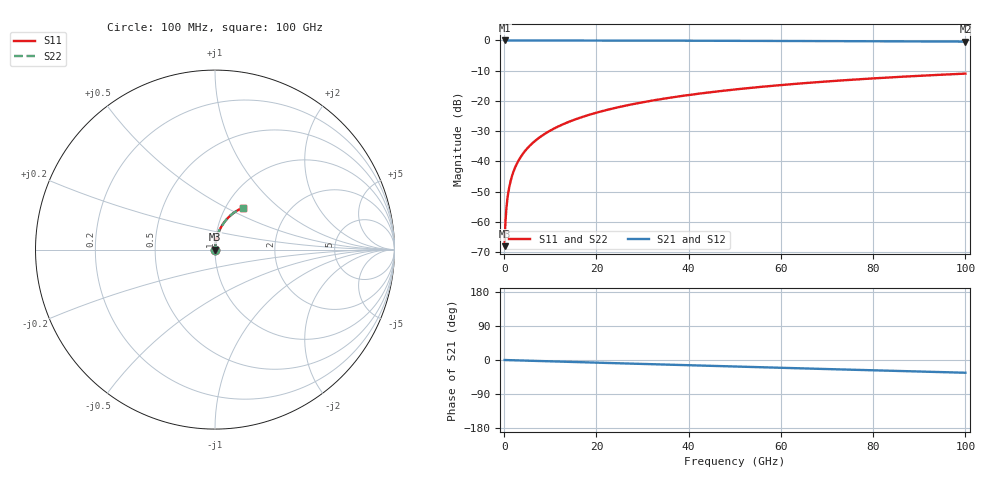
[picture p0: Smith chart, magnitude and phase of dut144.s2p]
! Touchstone file exported from HFSS 2026.1.0
!  File:  C:/ffzhzh/LocalFiles/Ansys_Project_Files/temp_train_TSV_144_1783506499_9504.aedt
!  Generated:  06:29:43 PM Jul  8, 2026
!  Design:  TSV
!  Project:  temp_train_TSV_144_1783506499_9504
! Variables:
!  h_bsmrdl = 2um
!  h_ox = 20um
!  h_rdl = 5um
!  h_sub = 50.32um
!  h_tmrdl = 5um
!  h_tsv = 50.32um
!  h_via = 3um
!  l_bsmrdl = 300um
!  l_sub = 412.6um
!  l_tmrdl = 200um
!  m_sub = 200um
!  pitch = 56.01um
!  r_tsv = 6.3um
!  s_tmrdl = 10um
!  w_bsmrdl = 18um
!  w_sub = 500um
!  w_tmrdl = 12um
!  x_tsv_center1 = 206um
!  x_tsv_center2 = 524um
!  x_tsv_center3 = 736um
!  x_tsv_center4 = 1054um
!  x_tsv_center5 = 1266um
!  x_tsv_center6 = 1584um
# GHz S MA R 50.000000
! Terminal data exported
! Port[1] = TSV1_1_T1
! Port[2] = TSV1_1_T2
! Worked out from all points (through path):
!   1000 points, 100 MHz to 100 GHz, reference 50 ohm
!   highest |S21| = 0.00 dB at 100 MHz (marker M1); lowest = -0.4 dB at 100 GHz (marker M2)
!   group delay of S21, straight-line fit = 935 fs
!   lowest |S11| = -68.1 dB at 100 MHz (marker M3), VSWR 1.00, Z = 50 + j0.0351 ohm
!   |S11| at or under -10 dB: start of sweep to end of sweep
!   |S22| runs from -68.1 to -11.0 dB; largest |S21 - S12| = 1.7e-15
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0.1  0.0003943 62.8  0.9998 -0.0  0.9998 -0.0  0.0003943 62.8
! Gamma 0 0 0 0
! Port Impedance 50 0 50 0
0.3  0.001047 78.8  0.9998 -0.1  0.9998 -0.1  0.001047 78.8
0.7  0.002377 84.3  0.9998 -0.3  0.9998 -0.3  0.002377 84.3
0.8  0.00271 84.7  0.9998 -0.3  0.9998 -0.3  0.00271 84.7
1  0.003376 85.4  0.9997 -0.4  0.9997 -0.4  0.003376 85.4
1.3  0.004371 85.9  0.9997 -0.5  0.9997 -0.5  0.004371 85.9
1.7  0.005691 86.2  0.9997 -0.6  0.9997 -0.6  0.005691 86.2
2.3  0.007653 86.4  0.9996 -0.8  0.9996 -0.8  0.007653 86.4
3  0.009921 86.4  0.9995 -1.1  0.9995 -1.1  0.009921 86.4
3.8  0.0125 86.3  0.9994 -1.3  0.9994 -1.3  0.0125 86.3
4.8  0.0157 86.2  0.9993 -1.7  0.9993 -1.7  0.0157 86.2
6  0.01953 86.0  0.9992 -2.1  0.9992 -2.1  0.01953 86.0
8.8  0.02845 85.3  0.9988 -3.1  0.9988 -3.1  0.02845 85.3
12.4  0.03987 84.3  0.9983 -4.3  0.9983 -4.3  0.03987 84.3
16.8  0.05374 83.0  0.9975 -5.9  0.9975 -5.9  0.05374 83.0
24.2  0.07685 80.6  0.9957 -8.4  0.9957 -8.4  0.07685 80.6
33.4  0.1051 77.6  0.9929 -11.6  0.9929 -11.6  0.1051 77.6
41.2  0.1286 75.0  0.99 -14.2  0.99 -14.2  0.1286 75.0
50.1  0.1546 72.1  0.9861 -17.3  0.9861 -17.3  0.1546 72.1
66.7  0.201 66.6  0.9775 -22.8  0.9775 -22.8  0.201 66.6
83.4  0.244 61.2  0.9675 -28.3  0.9675 -28.3  0.244 61.2
100  0.2826 55.9  0.9567 -33.6  0.9567 -33.6  0.2826 55.9
